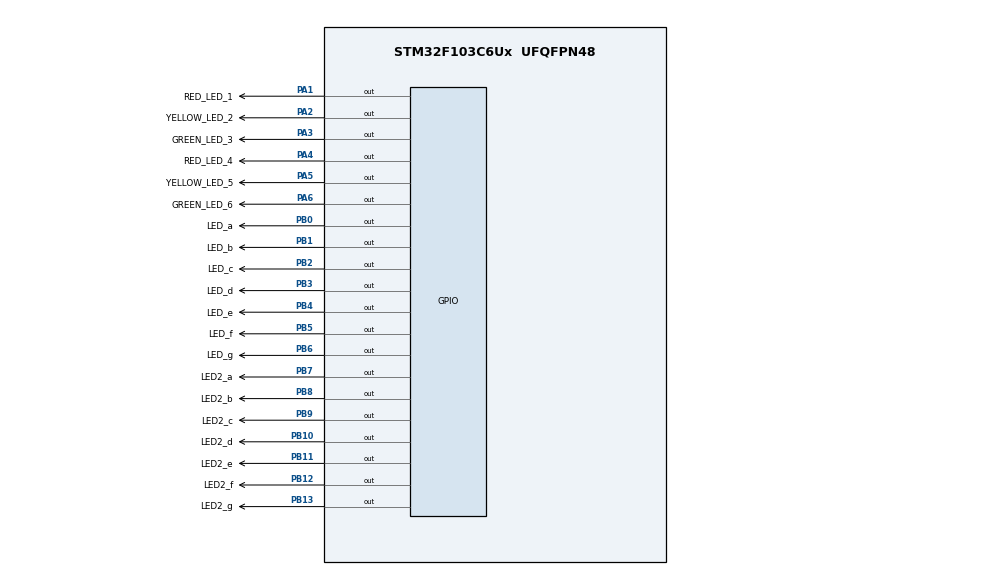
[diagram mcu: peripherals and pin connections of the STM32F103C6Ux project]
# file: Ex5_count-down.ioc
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Mcu.Family=STM32F1
Mcu.Name=STM32F103C6Ux
Mcu.Package=UFQFPN48
NVIC.PriorityGroup=NVIC_PRIORITYGROUP_4
PA1.GPIO_Label=RED_LED_1
PA1.Signal=GPIO_Output
PA2.GPIO_Label=YELLOW_LED_2
PA2.Signal=GPIO_Output
PA3.GPIO_Label=GREEN_LED_3
PA3.Signal=GPIO_Output
PA4.GPIO_Label=RED_LED_4
PA4.Signal=GPIO_Output
PA5.GPIO_Label=YELLOW_LED_5
PA5.Signal=GPIO_Output
PA6.GPIO_Label=GREEN_LED_6
PA6.Signal=GPIO_Output
PB0.GPIO_Label=LED_a
PB0.Signal=GPIO_Output
PB1.GPIO_Label=LED_b
PB1.Signal=GPIO_Output
PB10.GPIO_Label=LED2_d
PB10.Signal=GPIO_Output
PB11.GPIO_Label=LED2_e
PB11.Signal=GPIO_Output
PB12.GPIO_Label=LED2_f
PB12.Signal=GPIO_Output
PB13.GPIO_Label=LED2_g
PB13.Signal=GPIO_Output
PB2.GPIO_Label=LED_c
PB2.Signal=GPIO_Output
PB3.GPIO_Label=LED_d
PB3.Signal=GPIO_Output
PB4.GPIO_Label=LED_e
PB4.Signal=GPIO_Output
PB5.GPIO_Label=LED_f
PB5.Signal=GPIO_Output
PB6.GPIO_Label=LED_g
PB6.Signal=GPIO_Output
PB7.GPIO_Label=LED2_a
PB7.Signal=GPIO_Output
PB8.GPIO_Label=LED2_b
PB8.Signal=GPIO_Output
PB9.GPIO_Label=LED2_c
PB9.Signal=GPIO_Output
ProjectManager.HeapSize=0x200
ProjectManager.StackSize=0x400
ProjectManager.TargetToolchain=STM32CubeIDE
RCC.APB1Freq_Value=8000000
RCC.APB2Freq_Value=8000000
VP_SYS_VS_ND.Mode=No_Debug
board=custom

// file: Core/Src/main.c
/* USER CODE BEGIN Header */
/**
  ******************************************************************************
  * @file           : main.c
  * @brief          : Main program body
  ******************************************************************************
  * @attention
  *
  * <h2><center>&copy; Copyright (c) 2026 STMicroelectronics.
  * All rights reserved.</center></h2>
  *
  * This software component is licensed by ST under BSD 3-Clause license,
  * the "License"; You may not use this file except in compliance with the
  * License. You may obtain a copy of the License at:
  *                        opensource.org/licenses/BSD-3-Clause
  *
  ******************************************************************************
  */
/* USER CODE END Header */
#include "main.h"

/* USER CODE BEGIN PTD */
typedef enum{
	AUTO_RED_GREEN = 0, //r1 - g6
	AUTO_RED_YELLOW, // r1 - y5
	AUTO_GREEN_RED, // g3 - r4
	AUTO_YELLOW_RED // y2 - r4
}TrafficState;
/* USER CODE END PTD */

void SystemClock_Config(void);
static void MX_GPIO_Init(void);

/* USER CODE BEGIN 0 */
void setTrafficLight1(int red, int yellow, int green) {
    HAL_GPIO_WritePin(RED_LED_1_GPIO_Port, RED_LED_1_Pin, red ? GPIO_PIN_RESET : GPIO_PIN_SET);
    HAL_GPIO_WritePin(YELLOW_LED_2_GPIO_Port, YELLOW_LED_2_Pin, yellow ? GPIO_PIN_RESET : GPIO_PIN_SET);
    HAL_GPIO_WritePin(GREEN_LED_3_GPIO_Port, GREEN_LED_3_Pin, green ? GPIO_PIN_RESET : GPIO_PIN_SET);
}
// way
void setTrafficLight2(int red, int yellow, int green) {
    HAL_GPIO_WritePin(RED_LED_4_GPIO_Port, RED_LED_4_Pin, red ? GPIO_PIN_RESET : GPIO_PIN_SET);
    HAL_GPIO_WritePin(YELLOW_LED_5_GPIO_Port, YELLOW_LED_5_Pin, yellow ? GPIO_PIN_RESET : GPIO_PIN_SET);
    HAL_GPIO_WritePin(GREEN_LED_6_GPIO_Port, GREEN_LED_6_Pin, green ? GPIO_PIN_RESET : GPIO_PIN_SET);
}

void display7SEG_1(int num) {
    // Mảng mã hóa cho LED 7 đoạn Anode chung (g f e d c b a)
    // 0: BẬT (RESET), 1: TẮT (SET)
    const uint8_t segment_patterns[10] = {
        0x3F, // 0: 0111111 -> sáng a,b,c,d,e,f
        0x06, // 1: 0000110 -> sáng b,c
        0x5B, // 2: 1011011 -> sáng a,b,d,e,g
        0x4F, // 3: 1001111 -> sáng a,b,c,d,g
        0x66, // 4: 1100110 -> sáng b,c,f,g
        0x6D, // 5: 1101101 -> sáng a,c,d,f,g
        0x7D, // 6: 1111101 -> sáng a,c,d,e,f,g
        0x07, // 7: 0000111 -> sáng a,b,c
        0x7F, // 8: 1111111 -> sáng a,b,c,d,e,f,g
        0x6F  // 9: 1101111 -> sáng a,b,c,d,f,g
    };

    if (num < 0 || num > 9) return;

    uint8_t pattern = segment_patterns[num];

    // Ghi trạng thái ra từng chân từ PB0 (a) đến PB6 (g)
    // Anode chung: Bit = 1 thì xuất mức 0 (RESET) để đèn sáng
    HAL_GPIO_WritePin(GPIOB, GPIO_PIN_0, (pattern & (1 << 0)) ? GPIO_PIN_RESET : GPIO_PIN_SET);
    HAL_GPIO_WritePin(GPIOB, GPIO_PIN_1, (pattern & (1 << 1)) ? GPIO_PIN_RESET : GPIO_PIN_SET);
    HAL_GPIO_WritePin(GPIOB, GPIO_PIN_2, (pattern & (1 << 2)) ? GPIO_PIN_RESET : GPIO_PIN_SET);
    HAL_GPIO_WritePin(GPIOB, GPIO_PIN_3, (pattern & (1 << 3)) ? GPIO_PIN_RESET : GPIO_PIN_SET);
    HAL_GPIO_WritePin(GPIOB, GPIO_PIN_4, (pattern & (1 << 4)) ? GPIO_PIN_RESET : GPIO_PIN_SET);
    HAL_GPIO_WritePin(GPIOB, GPIO_PIN_5, (pattern & (1 << 5)) ? GPIO_PIN_RESET : GPIO_PIN_SET);
    HAL_GPIO_WritePin(GPIOB, GPIO_PIN_6, (pattern & (1 << 6)) ? GPIO_PIN_RESET : GPIO_PIN_SET);
}

void display7SEG_2(int num) {
    const uint8_t segment_patterns[10] = {
        0x3F, 0x06, 0x5B, 0x4F, 0x66, 0x6D, 0x7D, 0x07, 0x7F, 0x6F
    };
    if (num < 0 || num > 9) return;
    uint8_t pattern = segment_patterns[num];

    HAL_GPIO_WritePin(GPIOB, GPIO_PIN_7,  (pattern & (1 << 0)) ? GPIO_PIN_RESET : GPIO_PIN_SET);
    HAL_GPIO_WritePin(GPIOB, GPIO_PIN_8,  (pattern & (1 << 1)) ? GPIO_PIN_RESET : GPIO_PIN_SET);
    HAL_GPIO_WritePin(GPIOB, GPIO_PIN_9,  (pattern & (1 << 2)) ? GPIO_PIN_RESET : GPIO_PIN_SET);
    HAL_GPIO_WritePin(GPIOB, GPIO_PIN_10, (pattern & (1 << 3)) ? GPIO_PIN_RESET : GPIO_PIN_SET);
    HAL_GPIO_WritePin(GPIOB, GPIO_PIN_11, (pattern & (1 << 4)) ? GPIO_PIN_RESET : GPIO_PIN_SET);
    HAL_GPIO_WritePin(GPIOB, GPIO_PIN_12, (pattern & (1 << 5)) ? GPIO_PIN_RESET : GPIO_PIN_SET);
    HAL_GPIO_WritePin(GPIOB, GPIO_PIN_13, (pattern & (1 << 6)) ? GPIO_PIN_RESET : GPIO_PIN_SET);
}

void updateTraffic7SEG(int count_vertical, int count_horizontal) {
    display7SEG_1(count_vertical);
    display7SEG_2(count_horizontal);
}
/* USER CODE END 0 */

int main(void)
{

  /* MCU Configuration--------------------------------------------------------*/

  /* Reset of all peripherals, Initializes the Flash interface and the Systick. */
  HAL_Init();

  /* Configure the system clock */
  SystemClock_Config();

  /* Initialize all configured peripherals */
  MX_GPIO_Init();
  /* USER CODE BEGIN 2 */
    TrafficState state = AUTO_RED_GREEN;

    // Khởi tạo thời gian ban đầu ngoài thực tế:
    // Hướng 1: ĐỎ 5 giây
    // Hướng 2: XANH 3 giây
    int countdown_dir1 = 5;
    int countdown_dir2 = 3;

    // Bật đèn khởi tạo (Active-Low)
    setTrafficLight1(1, 0, 0); // Hướng 1: Đỏ
    setTrafficLight2(0, 0, 1); // Hướng 2: Xanh
    /* USER CODE END 2 */

    /* Infinite loop */
    /* USER CODE BEGIN WHILE */
    while (1)
    {
        // 1. Cập nhật số hiển thị lên 2 cụm LED 7 đoạn
        updateTraffic7SEG(countdown_dir1, countdown_dir2);

        // 2. Chờ đúng 1 giây
        HAL_Delay(1000);

        // 3. Giảm đồng thời cả 2 hướng sau mỗi giây
        countdown_dir1--;
        countdown_dir2--;

        // 4. Chuyển trạng thái khi có một hướng đếm hết (về 0)
        switch (state) {
            case AUTO_RED_GREEN:
                // Đang Đỏ 1 (5s) và Xanh 2 (3s)
                // Sau 3s, Xanh 2 hết giờ (countdown_dir2 <= 0) -> Chuyển Hướng 2 sang Vàng (2s)
                if (countdown_dir2 <= 0) {
                    state = AUTO_RED_YELLOW;
                    countdown_dir2 = 2; // Nạp 2 giây cho Vàng 2
                    setTrafficLight1(1, 0, 0); // Hướng 1 vẫn giữ Đỏ (còn 2s)
                    setTrafficLight2(0, 1, 0); // Hướng 2 bật Vàng
                }
                break;

            case AUTO_RED_YELLOW:
                // Đang Đỏ 1 (tiếp tục 2s) và Vàng 2 (2s)
                // Cả hai cùng hết giờ cùng lúc -> Đổi chiều giao thông
                if (countdown_dir1 <= 0) {
                    state = AUTO_GREEN_RED;
                    countdown_dir1 = 3; // Nạp 3 giây cho Xanh 1
                    countdown_dir2 = 5; // Nạp 5 giây cho Đỏ 2
                    setTrafficLight1(0, 0, 1); // Hướng 1 bật Xanh
                    setTrafficLight2(1, 0, 0); // Hướng 2 bật Đỏ
                }
                break;

            case AUTO_GREEN_RED:
                // Đang Xanh 1 (3s) và Đỏ 2 (5s)
                // Sau 3s, Xanh 1 hết giờ -> Chuyển Hướng 1 sang Vàng (2s)
                if (countdown_dir1 <= 0) {
                    state = AUTO_YELLOW_RED;
                    countdown_dir1 = 2; // Nạp 2 giây cho Vàng 1
                    setTrafficLight1(0, 1, 0); // Hướng 1 bật Vàng
                    setTrafficLight2(1, 0, 0); // Hướng 2 vẫn giữ Đỏ (còn 2s)
                }
                break;

            case AUTO_YELLOW_RED:
                // Đang Vàng 1 (2s) và Đỏ 2 (tiếp tục 2s)
                // Cả hai cùng hết giờ -> Quay lại pha ban đầu
                if (countdown_dir2 <= 0) {
                    state = AUTO_RED_GREEN;
                    countdown_dir1 = 5; // Nạp 5 giây cho Đỏ 1
                    countdown_dir2 = 3; // Nạp 3 giây cho Xanh 2
                    setTrafficLight1(1, 0, 0); // Hướng 1 bật Đỏ
                    setTrafficLight2(0, 0, 1); // Hướng 2 bật Xanh
                }
                break;
        }
      /* USER CODE END WHILE */

    }
}

void SystemClock_Config(void)
{
  RCC_OscInitTypeDef RCC_OscInitStruct = {0};
  RCC_ClkInitTypeDef RCC_ClkInitStruct = {0};

  /** Initializes the RCC Oscillators according to the specified parameters
  * in the RCC_OscInitTypeDef structure.
  */
  RCC_OscInitStruct.OscillatorType = RCC_OSCILLATORTYPE_HSI;
  RCC_OscInitStruct.HSIState = RCC_HSI_ON;
  RCC_OscInitStruct.HSICalibrationValue = RCC_HSICALIBRATION_DEFAULT;
  RCC_OscInitStruct.PLL.PLLState = RCC_PLL_NONE;
  if (HAL_RCC_OscConfig(&RCC_OscInitStruct) != HAL_OK)
  {
    Error_Handler();
  }
  /** Initializes the CPU, AHB and APB buses clocks
  */
  RCC_ClkInitStruct.ClockType = RCC_CLOCKTYPE_HCLK|RCC_CLOCKTYPE_SYSCLK
                              |RCC_CLOCKTYPE_PCLK1|RCC_CLOCKTYPE_PCLK2;
  RCC_ClkInitStruct.SYSCLKSource = RCC_SYSCLKSOURCE_HSI;
  RCC_ClkInitStruct.AHBCLKDivider = RCC_SYSCLK_DIV1;
  RCC_ClkInitStruct.APB1CLKDivider = RCC_HCLK_DIV1;
  RCC_ClkInitStruct.APB2CLKDivider = RCC_HCLK_DIV1;

  if (HAL_RCC_ClockConfig(&RCC_ClkInitStruct, FLASH_LATENCY_0) != HAL_OK)
  {
    Error_Handler();
  }
}

static void MX_GPIO_Init(void)
{
  GPIO_InitTypeDef GPIO_InitStruct = {0};

  /* GPIO Ports Clock Enable */
  __HAL_RCC_GPIOA_CLK_ENABLE();
  __HAL_RCC_GPIOB_CLK_ENABLE();

  /*Configure GPIO pin Output Level */
  HAL_GPIO_WritePin(GPIOA, RED_LED_1_Pin|YELLOW_LED_2_Pin|GREEN_LED_3_Pin|RED_LED_4_Pin
                          |YELLOW_LED_5_Pin|GREEN_LED_6_Pin, GPIO_PIN_RESET);

  /*Configure GPIO pin Output Level */
  HAL_GPIO_WritePin(GPIOB, LED_a_Pin|LED_b_Pin|LED_c_Pin|LED2_d_Pin
                          |LED2_e_Pin|LED2_f_Pin|LED2_g_Pin|LED_d_Pin
                          |LED_e_Pin|LED_f_Pin|LED_g_Pin|LED2_a_Pin
                          |LED2_b_Pin|LED2_c_Pin, GPIO_PIN_RESET);

  /*Configure GPIO pins : RED_LED_1_Pin YELLOW_LED_2_Pin GREEN_LED_3_Pin RED_LED_4_Pin
                           YELLOW_LED_5_Pin GREEN_LED_6_Pin */
  GPIO_InitStruct.Pin = RED_LED_1_Pin|YELLOW_LED_2_Pin|GREEN_LED_3_Pin|RED_LED_4_Pin
                          |YELLOW_LED_5_Pin|GREEN_LED_6_Pin;
  GPIO_InitStruct.Mode = GPIO_MODE_OUTPUT_PP;
  GPIO_InitStruct.Pull = GPIO_NOPULL;
  GPIO_InitStruct.Speed = GPIO_SPEED_FREQ_LOW;
  HAL_GPIO_Init(GPIOA, &GPIO_InitStruct);

  /*Configure GPIO pins : LED_a_Pin LED_b_Pin LED_c_Pin LED2_d_Pin
                           LED2_e_Pin LED2_f_Pin LED2_g_Pin LED_d_Pin
                           LED_e_Pin LED_f_Pin LED_g_Pin LED2_a_Pin
                           LED2_b_Pin LED2_c_Pin */
  GPIO_InitStruct.Pin = LED_a_Pin|LED_b_Pin|LED_c_Pin|LED2_d_Pin
                          |LED2_e_Pin|LED2_f_Pin|LED2_g_Pin|LED_d_Pin
                          |LED_e_Pin|LED_f_Pin|LED_g_Pin|LED2_a_Pin
                          |LED2_b_Pin|LED2_c_Pin;
  GPIO_InitStruct.Mode = GPIO_MODE_OUTPUT_PP;
  GPIO_InitStruct.Pull = GPIO_NOPULL;
  GPIO_InitStruct.Speed = GPIO_SPEED_FREQ_LOW;
  HAL_GPIO_Init(GPIOB, &GPIO_InitStruct);

}

void Error_Handler(void)
{
  __disable_irq();
  while (1)
  {
  }
}

/************************ (C) COPYRIGHT STMicroelectronics *****END OF FILE****/
